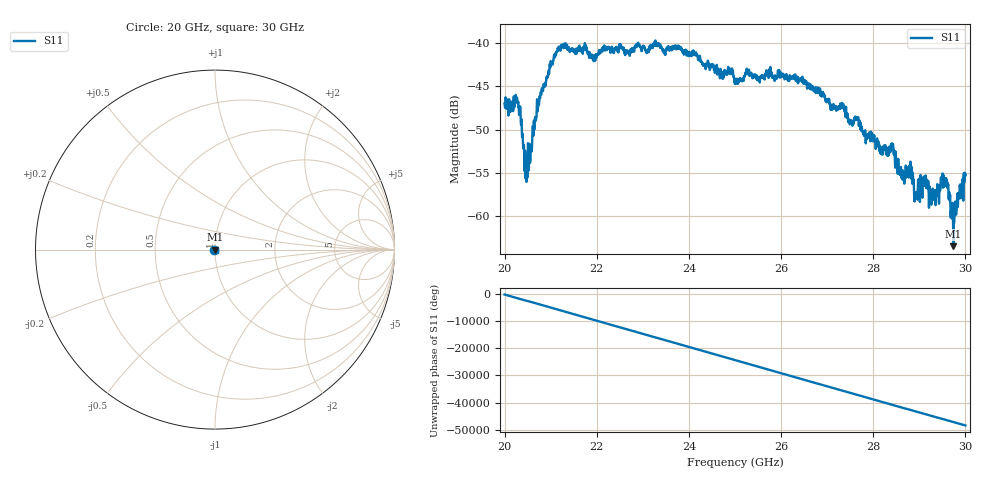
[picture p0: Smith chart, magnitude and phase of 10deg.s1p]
#  HZ  S  RI  R  50.00
! Rohde & Schwarz ZVA40 4Ports - Version 3.90 - 1145.1110k42 SN: 100403
! Date: 2023-10-03 11:37:56
! Measurement: S12
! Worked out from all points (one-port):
!   5001 points, 20 GHz to 30 GHz, reference 50 ohm
!   lowest |S11| = -63.5 dB at 29.74 GHz (marker M1), VSWR 1.00, Z = 50.1 - j0.0272 ohm
!   |S11| at or under -10 dB: start of sweep to end of sweep
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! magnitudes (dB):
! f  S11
! 20 GHz  -47.0
! 20.29 GHz  -46.9
! 20.37 GHz  -49.7
! 20.45 GHz  -52.6
! 20.48 GHz  -55.1
! 20.78 GHz  -46.0
! 21.11 GHz  -41.2
! 21.25 GHz  -40.3
! 21.94 GHz  -41.4
! 22.5 GHz  -40.3
! 23.75 GHz  -40.7
! 25 GHz  -44.7
! 26.25 GHz  -43.9
! 27.11 GHz  -47.7
! 27.33 GHz  -47.4
! 27.5 GHz  -49.1
! 27.63 GHz  -48.7
! 28.16 GHz  -52.0
! 28.39 GHz  -51.9
! 28.6 GHz  -54.3
! 28.75 GHz  -55.1
! 28.83 GHz  -54.8
! 28.94 GHz  -57.3
! 29.13 GHz  -56.2
! 29.28 GHz  -57.6
! 29.55 GHz  -55.8
! 29.74 GHz  -63.5
! 30 GHz  -55.3
